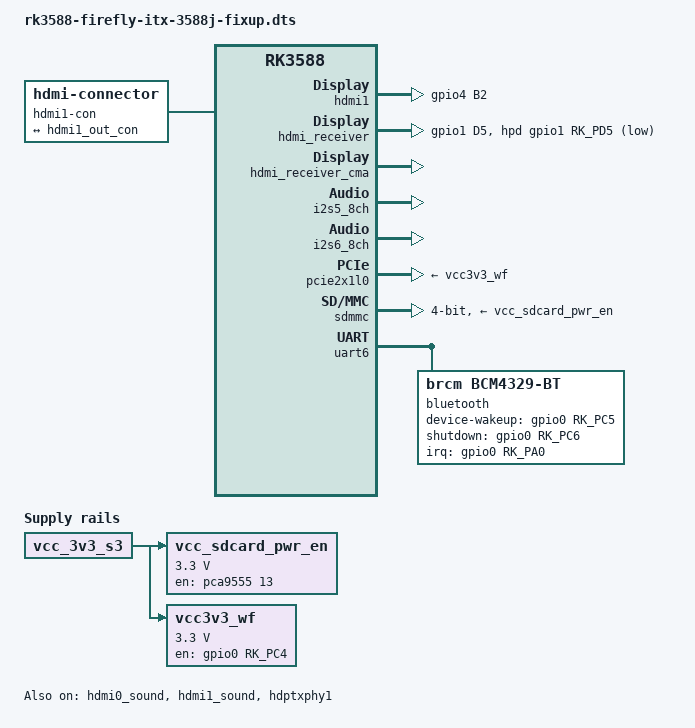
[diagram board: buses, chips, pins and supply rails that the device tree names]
// SPDX-License-Identifier: (GPL-2.0+ OR MIT)

#include "rk3588-firefly-itx-3588j.dts"

/ {
	hdmi1-con {
		compatible = "hdmi-connector";
		type = "a";

		port {
			hdmi1_con_in: endpoint {
				remote-endpoint = <&hdmi1_out_con>;
			};
		};
	};

	/*
	 * The microSD slot is powered through bit 5 of the PCA9555 expander's
	 * second bank. Upstream describes the expander but never this rail, so
	 * the slot is left unusable.
	 */
	vcc_sdcard_pwr_en: regulator-vcc-sdcard-pwr-en {
		compatible = "regulator-fixed";
		enable-active-high;
		gpios = <&pca9555 13 GPIO_ACTIVE_HIGH>;
		regulator-boot-on;
		regulator-min-microvolt = <3300000>;
		regulator-max-microvolt = <3300000>;
		regulator-name = "vcc_sdcard_pwr_en";
		vin-supply = <&vcc_3v3_s3>;
	};

	/*
	 * WIFI_REG_ON for the M.2 module on pcie2x1l0. Upstream enables the
	 * link but never describes this enable line, so the module is never
	 * powered and the port comes up empty.
	 */
	vcc3v3_wf: regulator-vcc3v3-wf {
		compatible = "regulator-fixed";
		enable-active-high;
		gpio = <&gpio0 RK_PC4 GPIO_ACTIVE_HIGH>;
		pinctrl-names = "default";
		pinctrl-0 = <&wifi_pwren>;
		regulator-boot-on;
		regulator-min-microvolt = <3300000>;
		regulator-max-microvolt = <3300000>;
		regulator-name = "vcc3v3_wf";
		startup-delay-us = <50000>;
		vin-supply = <&vcc_3v3_s3>;
	};
};

&hdmi0_sound {
	status = "okay";
};

/*
 * The board has a second HDMI output that upstream never enables. The vendor
 * device tree drives it from VP1 with the same enable line and pin muxing the
 * NanoPC-T6 and CM3588 use, and those groups are the SoC defaults anyway.
 */
&hdmi1 {
	frl-enable-gpios = <&gpio4 RK_PB2 GPIO_ACTIVE_LOW>;
	pinctrl-0 = <&hdmim2_tx1_cec &hdmim0_tx1_hpd
		     &hdmim1_tx1_scl &hdmim1_tx1_sda &hdmi1_tx_on_h>;
	pinctrl-names = "default";
	status = "okay";
};

&hdmi1_in {
	hdmi1_in_vp1: endpoint {
		remote-endpoint = <&vp1_out_hdmi1>;
	};
};

&hdmi1_out {
	hdmi1_out_con: endpoint {
		remote-endpoint = <&hdmi1_con_in>;
	};
};

&hdmi1_sound {
	status = "okay";
};

/*
 * HDMI input. The detect line and its pull come from the vendor device tree;
 * the mux groups are hdmim1, which is what every board upstream that enables
 * HDMI-RX uses -- including Rockchip's own EVB1 reference -- and nothing on
 * this board contends for GPIO3_D1..D4.
 */
&hdmi_receiver {
	hpd-gpios = <&gpio1 RK_PD5 GPIO_ACTIVE_LOW>;
	pinctrl-0 = <&hdmim1_rx_cec &hdmim1_rx_hpdin
		     &hdmim1_rx_scl &hdmim1_rx_sda &hdmirx_det>;
	pinctrl-names = "default";
	status = "okay";
};

&hdmi_receiver_cma {
	status = "okay";
};

&hdptxphy1 {
	status = "okay";
};

&i2s5_8ch {
	status = "okay";
};

&i2s6_8ch {
	status = "okay";
};

/*
 * Both RGMII PHYs have a reset line that upstream leaves floating, so a PHY
 * that powers up mid-reset is never recovered and the port comes up dead. The
 * timings are the RTL8211F figures from the vendor device tree.
 */
&rgmii_phy0 {
	reset-assert-us = <20000>;
	reset-deassert-us = <100000>;
	reset-gpios = <&gpio3 RK_PC7 GPIO_ACTIVE_LOW>;
};

&rgmii_phy1 {
	reset-assert-us = <20000>;
	reset-deassert-us = <100000>;
	reset-gpios = <&gpio3 RK_PB7 GPIO_ACTIVE_LOW>;
};

&pcie2x1l0 {
	vpcie3v3-supply = <&vcc3v3_wf>;
};

/*
 * The board's four SATA ports hang off a port multiplier on sata0, which is
 * why the vendor device tree enables sata0 alone. Upstream also enables sata1
 * and sata2, and those claim combphy1_ps and combphy2_psu -- the same two combo
 * PHYs this board needs for the PCIe Wi-Fi on pcie2x1l0 and for usb_host2_xhci.
 * A combo PHY can only serve one consumer, so leave the extra ports disabled.
 */
&sata1 {
	status = "disabled";
};

&sata2 {
	status = "disabled";
};

&sdmmc {
	bus-width = <4>;
	cap-mmc-highspeed;
	cap-sd-highspeed;
	disable-wp;
	max-frequency = <150000000>;
	no-mmc;
	no-sdio;
	sd-uhs-sdr104;
	vmmc-supply = <&vcc_sdcard_pwr_en>;
	vqmmc-supply = <&vccio_sd_s0>;
	status = "okay";
};

/*
 * The AP6275P's Bluetooth side hangs off uart6; upstream leaves the port
 * unconfigured. The GPIOs are the vendor's own bt_reset_gpio / bt_wake_gpio /
 * bt_irq_gpio pin groups.
 */
&uart6 {
	pinctrl-names = "default";
	pinctrl-0 = <&uart6m1_xfer>, <&uart6m1_rtsn>, <&uart6m1_ctsn>;
	uart-has-rtscts;
	status = "okay";

	bluetooth {
		compatible = "brcm,bcm4329-bt";
		clocks = <&hym8563>;
		clock-names = "lpo";
		device-wakeup-gpios = <&gpio0 RK_PC5 GPIO_ACTIVE_HIGH>;
		interrupt-parent = <&gpio0>;
		interrupts = <RK_PA0 IRQ_TYPE_EDGE_FALLING>;
		interrupt-names = "host-wakeup";
		max-speed = <1500000>;
		pinctrl-names = "default";
		pinctrl-0 = <&bt_reset>, <&bt_dev_wake>, <&bt_host_wake>;
		shutdown-gpios = <&gpio0 RK_PC6 GPIO_ACTIVE_HIGH>;
	};
};

/*
 * The vendor holds this rail up across suspend rather than take the generic
 * off-in-suspend default, so the fan controller survives deep sleep.
 */
&vdd_log_s0 {
	regulator-state-mem {
		regulator-on-in-suspend;
		regulator-suspend-microvolt = <750000>;
	};
};

&vp1 {
	vp1_out_hdmi1: endpoint@8 {
		reg = <ROCKCHIP_VOP2_EP_HDMI1>;
		remote-endpoint = <&hdmi1_in_vp1>;
	};
};

&pinctrl {
	bluetooth {
		bt_reset: bt-reset {
			rockchip,pins = <0 RK_PC6 RK_FUNC_GPIO &pcfg_pull_none>;
		};

		bt_dev_wake: bt-dev-wake {
			rockchip,pins = <0 RK_PC5 RK_FUNC_GPIO &pcfg_pull_none>;
		};

		bt_host_wake: bt-host-wake {
			rockchip,pins = <0 RK_PA0 RK_FUNC_GPIO &pcfg_pull_down>;
		};
	};

	hdmi {
		hdmi1_tx_on_h: hdmi1-tx-on-h {
			rockchip,pins = <4 RK_PB2 RK_FUNC_GPIO &pcfg_pull_none>;
		};
	};

	hdmirx {
		hdmirx_det: hdmirx-det {
			rockchip,pins = <1 RK_PD5 RK_FUNC_GPIO &pcfg_pull_up>;
		};
	};

	wireless-wlan {
		wifi_pwren: wifi-pwren {
			rockchip,pins = <0 RK_PC4 RK_FUNC_GPIO &pcfg_pull_up>;
		};
	};
};
